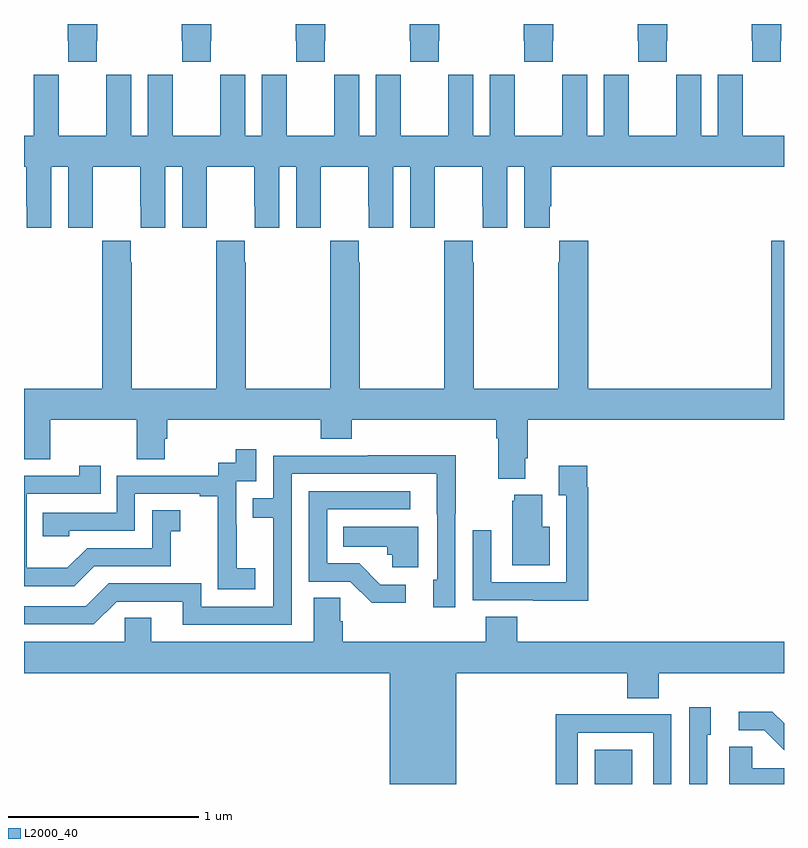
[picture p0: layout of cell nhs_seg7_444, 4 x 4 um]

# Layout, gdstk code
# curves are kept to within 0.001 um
import gdstk
lib = gdstk.Library(unit=1e-6, precision=1e-09)
def R(c, l, rs):  # rectangles x0, y0, x1, y1
    for r in rs: c.add(gdstk.rectangle(r[:2], r[2:], *l))
def P(c, l, *ps):  # polygons
    for p in ps: c.add(gdstk.Polygon(p, *l))
L2000_40 = (2000, 40)

nhs_seg7_444 = lib.new_cell('nhs_seg7_444')
R(nhs_seg7_444, L2000_40, [(148.004,1032,148.201,1032.181)])
P(nhs_seg7_444, L2000_40, [(145.383,1035.913),(145.386,1035.913),(145.386,1036),(145.231,1036),(145.231,1035.913),(145.233,1035.913),(145.233,1035.801),(145.383,1035.801)],
  [(145.983,1035.913),(145.986,1035.913),(145.986,1036),(145.831,1036),(145.831,1035.913),(145.833,1035.913),(145.833,1035.801),(145.983,1035.801)],
  [(146.583,1035.913),(146.586,1035.913),(146.586,1036),(146.431,1036),(146.431,1035.913),(146.433,1035.913),(146.433,1035.801),(146.583,1035.801)],
  [(147.183,1035.913),(147.186,1035.913),(147.186,1036),(147.031,1036),(147.031,1035.913),(147.033,1035.913),(147.033,1035.801),(147.183,1035.801)],
  [(147.783,1035.913),(147.786,1035.913),(147.786,1036),(147.631,1036),(147.631,1035.913),(147.633,1035.913),(147.633,1035.801),(147.783,1035.801)],
  [(148.383,1035.913),(148.386,1035.913),(148.386,1036),(148.231,1036),(148.231,1035.913),(148.233,1035.913),(148.233,1035.801),(148.383,1035.801)],
  [(148.983,1035.913),(148.986,1035.913),(148.986,1036),(148.831,1036),(148.831,1035.913),(148.833,1035.913),(148.833,1035.801),(148.983,1035.801)],
  [(148.652,1035.733),(148.652,1035.412),(148.564,1035.412),(148.564,1035.733),(148.434,1035.733),(148.434,1035.62),(148.433,1035.62),(148.433,1035.412),(148.183,1035.412),(148.183,1035.62),(148.182,1035.62),(148.182,1035.733),(148.052,1035.733),(148.052,1035.412),(147.964,1035.412),(147.964,1035.733),(147.834,1035.733),(147.834,1035.62),(147.833,1035.62),(147.833,1035.412),(147.583,1035.412),(147.583,1035.62),(147.582,1035.62),(147.582,1035.733),(147.452,1035.733),(147.452,1035.412),(147.364,1035.412),(147.364,1035.733),(147.234,1035.733),(147.234,1035.62),(147.233,1035.62),(147.233,1035.412),(146.983,1035.412),(146.983,1035.62),(146.982,1035.62),(146.982,1035.733),(146.852,1035.733),(146.852,1035.412),(146.764,1035.412),(146.764,1035.733),(146.634,1035.733),(146.634,1035.62),(146.633,1035.62),(146.633,1035.412),(146.383,1035.412),(146.383,1035.62),(146.382,1035.62),(146.382,1035.733),(146.252,1035.733),(146.252,1035.412),(146.164,1035.412),(146.164,1035.733),(146.034,1035.733),(146.034,1035.62),(146.033,1035.62),(146.033,1035.412),(145.783,1035.412),(145.783,1035.62),(145.782,1035.62),(145.782,1035.733),(145.652,1035.733),(145.652,1035.412),(145.564,1035.412),(145.564,1035.733),(145.434,1035.733),(145.434,1035.62),(145.433,1035.62),(145.433,1035.412),(145.183,1035.412),(145.183,1035.62),(145.182,1035.62),(145.182,1035.733),(145.052,1035.733),(145.052,1035.412),(145,1035.412),(145,1035.248),(145.013,1035.248),(145.013,1035.04),(145.014,1035.04),(145.014,1034.928),(145.144,1034.928),(145.144,1035.248),(145.232,1035.248),(145.232,1034.928),(145.362,1034.928),(145.362,1035.04),(145.363,1035.04),(145.363,1035.248),(145.613,1035.248),(145.613,1035.04),(145.614,1035.04),(145.614,1034.928),(145.744,1034.928),(145.744,1035.248),(145.832,1035.248),(145.832,1034.928),(145.962,1034.928),(145.962,1035.04),(145.963,1035.04),(145.963,1035.248),(146.213,1035.248),(146.213,1035.04),(146.214,1035.04),(146.214,1034.928),(146.344,1034.928),(146.344,1035.248),(146.432,1035.248),(146.432,1034.928),(146.562,1034.928),(146.562,1035.04),(146.563,1035.04),(146.563,1035.248),(146.813,1035.248),(146.813,1035.04),(146.814,1035.04),(146.814,1034.928),(146.944,1034.928),(146.944,1035.248),(147.032,1035.248),(147.032,1034.928),(147.162,1034.928),(147.162,1035.04),(147.163,1035.04),(147.163,1035.248),(147.413,1035.248),(147.413,1035.04),(147.414,1035.04),(147.414,1034.928),(147.544,1034.928),(147.544,1035.248),(147.632,1035.248),(147.632,1034.928),(147.766,1034.928),(147.766,1035.04),(147.776,1035.04),(147.776,1035.248),(149,1035.248),(149,1035.412),(148.783,1035.412),(148.783,1035.62),(148.782,1035.62),(148.782,1035.733)],
  [(146.163,1034.747),(146.163,1034.86),(146.013,1034.86),(146.013,1034.747),(146.011,1034.747),(146.011,1034.08),(145.566,1034.08),(145.566,1034.747),(145.563,1034.747),(145.563,1034.86),(145.413,1034.86),(145.413,1034.747),(145.411,1034.747),(145.411,1034.08),(145,1034.08),(145,1033.708),(145.137,1033.708),(145.137,1033.916),(145.594,1033.916),(145.594,1033.708),(145.741,1033.708),(145.741,1033.818),(145.754,1033.818),(145.754,1033.916),(146.561,1033.916),(146.561,1033.817),(146.726,1033.817),(146.726,1033.916),(147.485,1033.916),(147.485,1033.82),(147.497,1033.82),(147.497,1033.607),(147.637,1033.607),(147.637,1033.714),(147.65,1033.714),(147.65,1033.916),(149,1033.916),(149,1034.86),(148.934,1034.86),(148.934,1034.08),(147.971,1034.08),(147.971,1034.86),(147.817,1034.86),(147.817,1034.747),(147.811,1034.747),(147.811,1034.08),(147.366,1034.08),(147.366,1034.747),(147.363,1034.747),(147.363,1034.86),(147.213,1034.86),(147.213,1034.747),(147.211,1034.747),(147.211,1034.08),(146.766,1034.08),(146.766,1034.747),(146.763,1034.747),(146.763,1034.86),(146.613,1034.86),(146.613,1034.747),(146.611,1034.747),(146.611,1034.08),(146.166,1034.08),(146.166,1034.747)],
  [(146.218,1033.135),(146.12,1033.135),(146.12,1033.364),(146.118,1033.364),(146.118,1033.593),(146.223,1033.593),(146.223,1033.762),(146.115,1033.762),(146.115,1033.692),(146.022,1033.692),(146.022,1033.623),(145.488,1033.623),(145.488,1033.428),(145.099,1033.428),(145.099,1033.305),(145.239,1033.305),(145.239,1033.332),(145.584,1033.332),(145.584,1033.527),(145.925,1033.527),(145.925,1033.515),(146.021,1033.515),(146.021,1033.231),(146.02,1033.231),(146.02,1033.025),(146.218,1033.025)],
  [(146.409,1033.632),(147.173,1033.632),(147.174,1033.074),(147.155,1033.074),(147.155,1032.93),(147.27,1032.93),(147.27,1033.423),(147.273,1033.423),(147.273,1033.73),(146.809,1033.73),(146.809,1033.728),(146.313,1033.728),(146.313,1033.503),(146.203,1033.503),(146.203,1033.402),(146.313,1033.402),(146.313,1032.933),(145.932,1032.933),(145.932,1033.056),(145.446,1033.056),(145.326,1032.936),(145,1032.936),(145,1032.84),(145.368,1032.84),(145.488,1032.96),(145.835,1032.96),(145.835,1032.837),(146.409,1032.837)],
  [(145.369,1033.146),(145.773,1033.146),(145.773,1033.331),(145.822,1033.331),(145.822,1033.441),(145.674,1033.441),(145.674,1033.242),(145.332,1033.242),(145.228,1033.138),(145.014,1033.138),(145.014,1033.527),(145.403,1033.527),(145.403,1033.675),(145.292,1033.675),(145.292,1033.623),(145,1033.623),(145,1033.041),(145.264,1033.041)],
  [(147.971,1033.562),(147.964,1033.562),(147.964,1033.675),(147.815,1033.675),(147.815,1033.519),(147.855,1033.519),(147.855,1033.062),(147.459,1033.062),(147.459,1033.336),(147.363,1033.336),(147.363,1032.966),(147.679,1032.966),(147.679,1032.965),(147.971,1032.965)],
  [(147.01,1033.05),(146.875,1033.05),(146.764,1033.161),(146.595,1033.161),(146.595,1033.446),(147.034,1033.446),(147.034,1033.542),(146.499,1033.542),(146.499,1033.065),(146.718,1033.065),(146.831,1032.953),(147.01,1032.953)],
  [(147.766,1033.354),(147.727,1033.354),(147.727,1033.522),(147.581,1033.522),(147.581,1033.491),(147.569,1033.491),(147.569,1033.151),(147.766,1033.151)],
  [(147.076,1033.354),(146.68,1033.354),(146.68,1033.25),(146.911,1033.25),(146.911,1033.206),(146.937,1033.206),(146.937,1033.142),(147.076,1033.142)],
  [(147.274,1032.584),(148.175,1032.584),(148.175,1032.451),(148.34,1032.451),(148.34,1032.584),(149,1032.584),(149,1032.748),(147.596,1032.748),(147.596,1032.881),(147.431,1032.881),(147.431,1032.748),(146.678,1032.748),(146.678,1032.857),(146.664,1032.857),(146.664,1032.98),(146.525,1032.98),(146.525,1032.748),(145.669,1032.748),(145.669,1032.875),(145.53,1032.875),(145.53,1032.748),(145,1032.748),(145,1032.584),(146.924,1032.584),(146.924,1032),(147.274,1032)],
  [(148.596,1032.258),(148.615,1032.258),(148.615,1032.403),(148.5,1032.403),(148.5,1032),(148.596,1032)],
  [(149,1032.319),(148.939,1032.38),(148.761,1032.38),(148.761,1032.282),(148.895,1032.282),(149,1032.177)],
  [(147.915,1032.27),(148.311,1032.27),(148.311,1032),(148.407,1032),(148.407,1032.366),(148.091,1032.366),(148.091,1032.368),(147.799,1032.368),(147.799,1032),(147.915,1032)],
  [(149,1032.082),(148.833,1032.082),(148.833,1032.197),(148.712,1032.197),(148.712,1032),(149,1032)])

lib.write_gds('nhs_seg7_444.gds')
